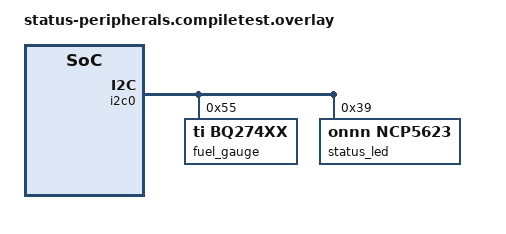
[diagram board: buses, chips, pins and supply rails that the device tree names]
/*
 * Compile-time integration test for the proposed shared status peripherals:
 * TI BQ27421/BQ27427-family fuel gauge + NCP5623 RGB LED driver on one I2C bus.
 *
 * Battery parameters are representative PoC values only and MUST be replaced
 * with values for the selected cell/charger before hardware use.
 */

#include <zephyr/dt-bindings/led/led.h>

/ {
    chosen {
        zmk,battery = &fuel_gauge;
    };
};

&i2c0 {
    fuel_gauge: bq274xx@55 {
        compatible = "ti,bq274xx";
        reg = <0x55>;
        status = "okay";

        design-voltage = <3700>;
        design-capacity = <1000>;
        taper-current = <100>;
        terminate-voltage = <3300>;
        zephyr,lazy-load;
    };

    status_led: ncp5623@39 {
        compatible = "onnn,ncp5623";
        reg = <0x39>;
        status = "okay";

        rgb_status: led_0 {
            label = "RGB Status";
            index = <0>;
            color-mapping = <LED_COLOR_ID_RED>,
                            <LED_COLOR_ID_GREEN>,
                            <LED_COLOR_ID_BLUE>;
        };
    };
};
